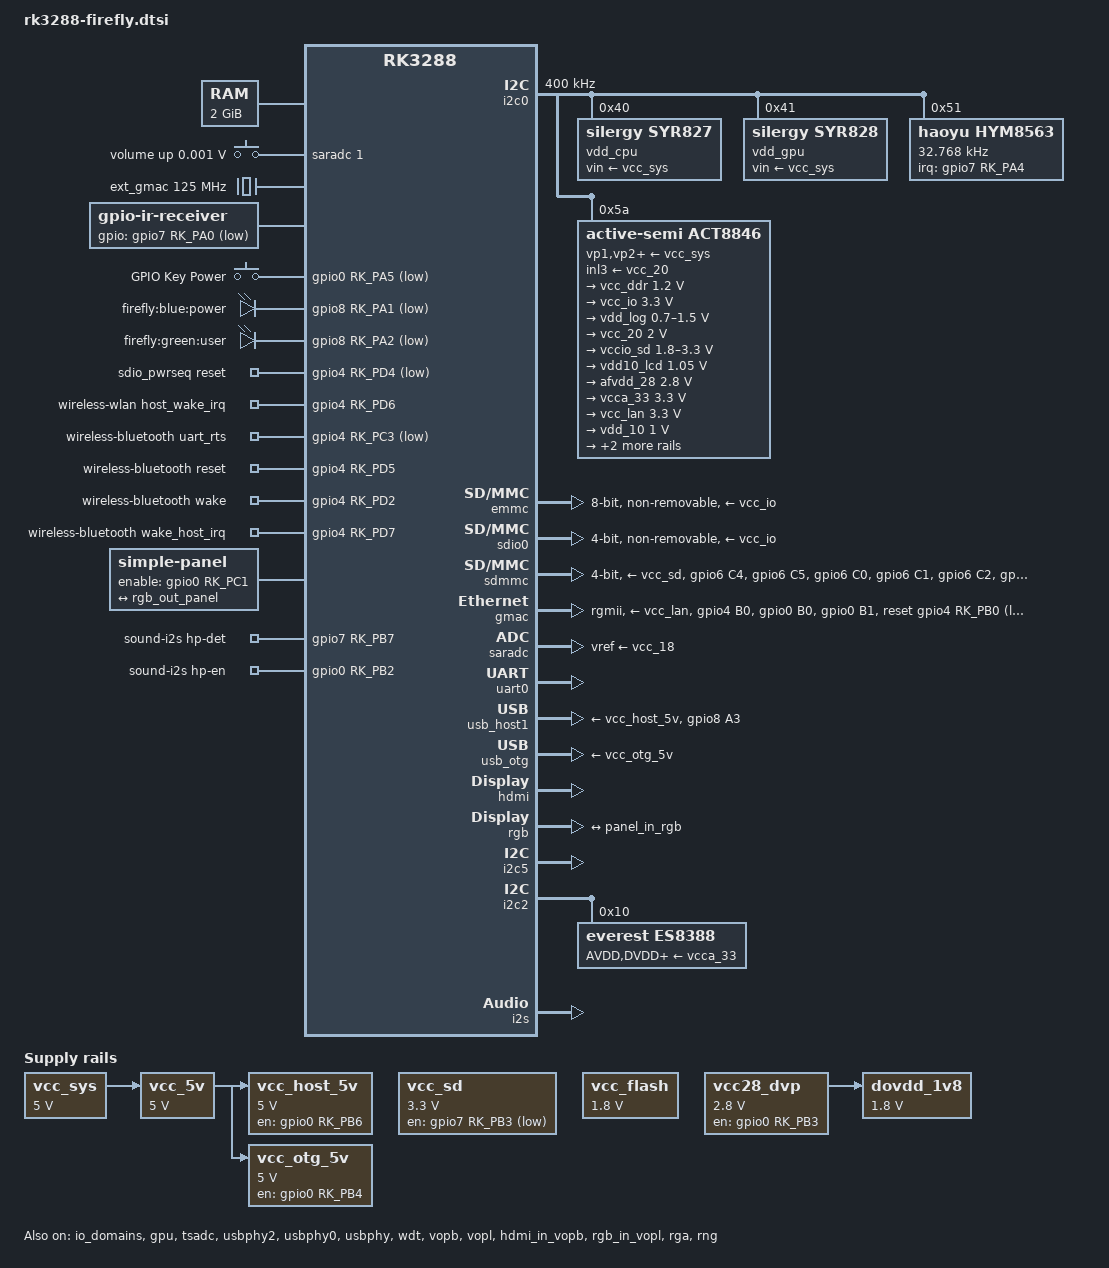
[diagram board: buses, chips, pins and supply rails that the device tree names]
// SPDX-License-Identifier: (GPL-2.0+ OR MIT)
/*
 * Copyright (c) 2014, 2015 FUKAUMI Naoki <naobsd@gmail.com>
 */

#include <dt-bindings/input/input.h>
#include <dt-bindings/display/media-bus-format.h>
#include "rk3288.dtsi"

/ {
	memory@0 {
		device_type = "memory";
		reg = <0x0 0x0 0x0 0x80000000>;
	};

	adc-keys {
		compatible = "adc-keys";
		io-channels = <&saradc 1>;
		io-channel-names = "buttons";
		poll-interval = <100>;
		keyup-threshold-microvolt = <1800000>;

		volup-key {
			label = "volume up";
			linux,code = <KEY_VOLUMEUP>;
			press-threshold-microvolt = <1000>;
		};
	};

	ext_gmac: external-gmac-clock {
		compatible = "fixed-clock";
		#clock-cells = <0>;
		clock-frequency = <125000000>;
		clock-output-names = "ext_gmac";
	};

	ir: ir-receiver {
		compatible = "gpio-ir-receiver";
		gpios = <&gpio7 RK_PA0 GPIO_ACTIVE_LOW>;
		pinctrl-names = "default";
		pinctrl-0 = <&ir_int>;
	};

	keys: gpio-keys {
		compatible = "gpio-keys";

		pinctrl-names = "default";
		pinctrl-0 = <&pwr_key>;

		power {
			gpios = <&gpio0 RK_PA5 GPIO_ACTIVE_LOW>;
			linux,code = <KEY_POWER>;
			label = "GPIO Key Power";
			wakeup-source;
			debounce-interval = <100>;
		};
	};

	leds {
		compatible = "gpio-leds";

		pinctrl-names = "default";
		pinctrl-0 = <&power_led>, <&user_led>;

		power {
			gpios = <&gpio8 RK_PA1 GPIO_ACTIVE_LOW>;
			label = "firefly:blue:power";
			linux,default-trigger = "default-on";
		};

		user {
			gpios = <&gpio8 RK_PA2 GPIO_ACTIVE_LOW>;
			label = "firefly:green:user";
			linux,default-trigger = "default-on";
		};
	};

	sdio_pwrseq: sdio-pwrseq {
		compatible = "mmc-pwrseq-simple";
		pinctrl-names = "default";
		pinctrl-0 = <&wifi_enable_h>;

		/*
		 * On the module itself this is one of these (depending
		 * on the actual card populated):
		 * - SDIO_RESET_L_WL_REG_ON
		 * - PDN (power down when low)
		 */
		reset-gpios = <&gpio4 RK_PD4 GPIO_ACTIVE_LOW>;
	};

	wireless-wlan {
		compatible = "wlan-platdata";
		rockchip,grf = <&grf>;
		clocks = <&hym8563>;
		clock-names = "clk_wifi";
		wifi_chip_type = "ap6255";
		WIFI,host_wake_irq = <&gpio4 RK_PD6 GPIO_ACTIVE_HIGH>;
		pinctrl-names = "default";
		pinctrl-0 = <&wifi_wake_host>;
		status = "okay";
	};

	wireless-bluetooth {
		compatible = "bluetooth-platdata";
		clocks = <&hym8563>;
		clock-names = "ext_clock";
		uart_rts_gpios = <&gpio4 RK_PC3 GPIO_ACTIVE_LOW>;
		pinctrl-names = "default", "rts_gpio";
		pinctrl-0 = <&uart0_rts>;
		pinctrl-1 = <&uart0_gpios>;
		BT,reset_gpio    = <&gpio4 RK_PD5 GPIO_ACTIVE_HIGH>;
		BT,wake_gpio     = <&gpio4 RK_PD2 GPIO_ACTIVE_HIGH>;
		BT,wake_host_irq = <&gpio4 RK_PD7 GPIO_ACTIVE_HIGH>;
		status = "okay";
	};

	panel {
		compatible = "simple-panel";
		enable-gpios = <&gpio0 RK_PC1 GPIO_ACTIVE_HIGH>;
		bus-format = <MEDIA_BUS_FMT_RGB888_1X24>;

		display-timings {
			native-mode = <&timing0>;

			timing0: timing0 {
				clock-frequency = <148500000>;
				hactive = <1920>;
				vactive = <1080>;
				hfront-porch = <88>;
				hsync-len = <44>;
				hback-porch = <148>;
				vfront-porch = <4>;
				vsync-len = <5>;
				vback-porch = <36>;
				hsync-active = <0>;
				vsync-active = <0>;
				de-active = <0>;
				pixelclk-active = <0>;
			};
		};

		port {
			panel_in_rgb: endpoint {
				remote-endpoint = <&rgb_out_panel>;
			};
		};
	};

	sound-i2s {
		compatible = "rockchip,rk3288-hdmi-analog";
		pinctrl-names = "default";
		pinctrl-0 = <&phone_ctl>, <&hp_det>;
		rockchip,hp-det-gpios = <&gpio7 RK_PB7 GPIO_ACTIVE_HIGH>;
		rockchip,hp-en-gpios = <&gpio0 RK_PB2 GPIO_ACTIVE_HIGH>;
		rockchip,model = "I2S";
		rockchip,audio-codec = <&es8388>, <&hdmi>;
		rockchip,i2s-controller = <&i2s>;
		rockchip,routing = "Analog", "LOUT2",
				   "Analog", "ROUT2";
	};

	vcc_sys: vsys-regulator {
		compatible = "regulator-fixed";
		regulator-name = "vcc_sys";
		regulator-min-microvolt = <5000000>;
		regulator-max-microvolt = <5000000>;
		regulator-always-on;
		regulator-boot-on;
	};

	vcc_sd: sdmmc-regulator {
		compatible = "regulator-fixed";
		gpio = <&gpio7 RK_PB3 GPIO_ACTIVE_LOW>;
		pinctrl-names = "default";
		pinctrl-0 = <&sdmmc_pwr>;
		regulator-name = "vcc_sd";
		regulator-min-microvolt = <3300000>;
		regulator-max-microvolt = <3300000>;
		regulator-always-on;
		regulator-boot-on;
		startup-delay-us = <100000>;
		//vin-supply = <&vcc_io>;
	};

	vcc_flash: flash-regulator {
		compatible = "regulator-fixed";
		regulator-name = "vcc_flash";
		regulator-min-microvolt = <1800000>;
		regulator-max-microvolt = <1800000>;
		regulator-always-on;
		regulator-boot-on;
		//vin-supply = <&vcc_io>;
	};

	vcc_5v: usb-regulator {
		compatible = "regulator-fixed";
		regulator-name = "vcc_5v";
		regulator-min-microvolt = <5000000>;
		regulator-max-microvolt = <5000000>;
		regulator-always-on;
		regulator-boot-on;
		vin-supply = <&vcc_sys>;
	};

	vcc_host_5v: usb-host-regulator {
		compatible = "regulator-fixed";
		enable-active-high;
		gpio = <&gpio0 RK_PB6 GPIO_ACTIVE_HIGH>;
		pinctrl-names = "default";
		pinctrl-0 = <&host_vbus_drv>;
		regulator-name = "vcc_host_5v";
		regulator-min-microvolt = <5000000>;
		regulator-max-microvolt = <5000000>;
		regulator-always-on;
		regulator-boot-on;
		vin-supply = <&vcc_5v>;
	};

	vcc_otg_5v: usb-otg-regulator {
		compatible = "regulator-fixed";
		enable-active-high;
		gpio = <&gpio0 RK_PB4 GPIO_ACTIVE_HIGH>;
		pinctrl-names = "default";
		pinctrl-0 = <&otg_vbus_drv>;
		regulator-name = "vcc_otg_5v";
		regulator-min-microvolt = <5000000>;
		regulator-max-microvolt = <5000000>;
		vin-supply = <&vcc_5v>;
	};

	/*
	 * A TT8142 creates both dovdd_1v8 and vcc28_dvp, controlled
	 * by the dvp_pwr pin.
	 */
	vcc28_dvp: vcc28-dvp-regulator {
		compatible = "regulator-fixed";
		enable-active-high;
		gpio = <&gpio0 RK_PB3 GPIO_ACTIVE_HIGH>;
		pinctrl-names = "default";
		pinctrl-0 = <&dvp_pwr>;
		regulator-name = "vcc28_dvp";
		regulator-min-microvolt = <2800000>;
		regulator-max-microvolt = <2800000>;
		//vin-supply = <&vcc_io>;
	};

	dovdd_1v8: dovdd-1v8-regulator {
		compatible = "regulator-fixed";
		regulator-name = "dovdd_1v8";
		regulator-min-microvolt = <1800000>;
		regulator-max-microvolt = <1800000>;
		vin-supply = <&vcc28_dvp>;
	};
};

&i2c0 {
	clock-frequency = <400000>;
	status = "okay";

	vdd_cpu: syr827@40 {
		compatible = "silergy,syr827";
		fcs,suspend-voltage-selector = <1>;
		reg = <0x40>;
		regulator-name = "vdd_cpu";
		regulator-min-microvolt = <850000>;
		regulator-max-microvolt = <1350000>;
		regulator-always-on;
		regulator-boot-on;
		regulator-enable-ramp-delay = <300>;
		regulator-ramp-delay = <8000>;
		vin-supply = <&vcc_sys>;
		regulator-initial-mode = <0x2>;
		regulator-state-mem {
			regulator-off-in-suspend;
		};
	};

	vdd_gpu: syr828@41 {
		compatible = "silergy,syr828";
		fcs,suspend-voltage-selector = <1>;
		reg = <0x41>;
		regulator-name = "vdd_gpu";
		regulator-min-microvolt = <850000>;
		regulator-max-microvolt = <1350000>;
		regulator-always-on;
		regulator-ramp-delay = <6000>;
		vin-supply = <&vcc_sys>;
		regulator-initial-mode = <0x2>;
		regulator-state-mem {
			regulator-off-in-suspend;
		};
	};

	hym8563: hym8563@51 {
		compatible = "haoyu,hym8563";
		reg = <0x51>;
		#clock-cells = <0>;
		clock-frequency = <32768>;
		clock-output-names = "xin32k";
		interrupt-parent = <&gpio7>;
		interrupts = <RK_PA4 IRQ_TYPE_EDGE_FALLING>;
		pinctrl-names = "default";
		pinctrl-0 = <&rtc_int>;
	};

	act8846: act8846@5a {
		compatible = "active-semi,act8846";
		reg = <0x5a>;
		pinctrl-names = "default";
		pinctrl-0 = <&pmic_vsel>, <&pwr_hold>;
		system-power-controller;

		vp1-supply = <&vcc_sys>;
		vp2-supply = <&vcc_sys>;
		vp3-supply = <&vcc_sys>;
		vp4-supply = <&vcc_sys>;
		inl1-supply = <&vcc_sys>;
		inl2-supply = <&vcc_sys>;
		inl3-supply = <&vcc_20>;

		regulators {
			vcc_ddr: REG1 {
				regulator-name = "vcc_ddr";
				regulator-min-microvolt = <1200000>;
				regulator-max-microvolt = <1200000>;
				regulator-always-on;
				regulator-state-mem {
					regulator-on-in-suspend;
				};
			};

			vcc_io: REG2 {
				regulator-name = "vcc_io";
				regulator-min-microvolt = <3300000>;
				regulator-max-microvolt = <3300000>;
				regulator-always-on;
				regulator-state-mem {
					regulator-on-in-suspend;
				};
			};

			vdd_log: REG3 {
				regulator-name = "vdd_log";
				regulator-min-microvolt = <700000>;
				regulator-max-microvolt = <1500000>;
				regulator-always-on;
				regulator-state-mem {
					regulator-on-in-suspend;
					regulator-suspend-microvolt = <1100000>;
				};
			};

			vcc_20: REG4 {
				regulator-name = "vcc_20";
				regulator-min-microvolt = <2000000>;
				regulator-max-microvolt = <2000000>;
				regulator-always-on;
				regulator-state-mem {
					regulator-on-in-suspend;
				};
			};

			vccio_sd: REG5 {
				regulator-name = "vccio_sd";
				regulator-min-microvolt = <1800000>;
				regulator-max-microvolt = <3300000>;
				regulator-always-on;
				regulator-state-mem {
					regulator-off-in-suspend;
				};
			};

			vdd10_lcd: REG6 {
				regulator-name = "vdd10_lcd";
				regulator-min-microvolt = <1050000>;
				regulator-max-microvolt = <1050000>;
				regulator-always-on;
				regulator-boot-on;
				regulator-state-mem {
					regulator-off-in-suspend;
				};
			};

			afvdd_28: REG7 {
				regulator-name = "afvdd_28";
				regulator-min-microvolt = <2800000>;
				regulator-max-microvolt = <2800000>;
				regulator-boot-on;
			};

			vcca_33: REG8 {
				regulator-name = "vcca_33";
				regulator-min-microvolt = <3300000>;
				regulator-max-microvolt = <3300000>;
				regulator-always-on;
				regulator-state-mem {
					regulator-on-in-suspend;
				};
			};

			vcc_lan: REG9 {
				regulator-name = "vcc_lan";
				regulator-min-microvolt = <3300000>;
				regulator-max-microvolt = <3300000>;
				regulator-always-on;
				regulator-state-mem {
					regulator-on-in-suspend;
				};
			};

			vdd_10: REG10 {
				regulator-name = "vdd_10";
				regulator-min-microvolt = <1000000>;
				regulator-max-microvolt = <1000000>;
				regulator-always-on;
				regulator-state-mem {
					regulator-on-in-suspend;
				};
			};

			vcc_18: REG11 {
				regulator-name = "vcc_18";
				regulator-min-microvolt = <1800000>;
				regulator-max-microvolt = <1800000>;
				regulator-always-on;
				regulator-state-mem {
					regulator-on-in-suspend;
				};
			};

			vcc18_lcd: REG12 {
				regulator-name = "vcc18_lcd";
				regulator-min-microvolt = <1850000>;
				regulator-max-microvolt = <1850000>;
				regulator-always-on;
				regulator-boot-on;
				regulator-state-mem {
					regulator-off-in-suspend;
				};
			};
		};
	};
};

&io_domains {
	status = "okay";

	audio-supply = <&vcca_33>;
	bb-supply = <&vcc_io>;
	dvp-supply = <&dovdd_1v8>;
	flash0-supply = <&vcc_flash>;
	flash1-supply = <&vcc_lan>;
	gpio30-supply = <&vcc_io>;
	gpio1830-supply = <&vcc_io>;
	lcdc-supply = <&vcc_io>;
	sdcard-supply = <&vccio_sd>;
	wifi-supply = <&vcc_18>;
};

&cpu0 {
	cpu0-supply = <&vdd_cpu>;
};

&gpu {
	mali-supply = <&vdd_gpu>;
	status = "okay";
};

&emmc {
	max-frequency = <100000000>;
	supports-emmc;
	bus-width = <8>;
	cap-mmc-highspeed;
	mmc-ddr-1_8v;
	mmc-hs200-1_8v;
	non-removable;
	pinctrl-names = "default";
	pinctrl-0 = <&emmc_clk>, <&emmc_cmd>, <&emmc_pwr>, <&emmc_bus8>;
	vmmc-supply = <&vcc_io>;
	vqmmc-supply = <&vcc_flash>;
	status = "okay";
};

&sdio0 {
	max-frequency = <100000000>;
	supports-sdio;
	bus-width = <4>;
	cap-sd-highspeed;
	sd-uhs-sdr104;
	cap-sdio-irq;
	keep-power-in-suspend;
	mmc-pwrseq = <&sdio_pwrseq>;
	non-removable;
	pinctrl-names = "default";
	pinctrl-0 = <&sdio0_bus4>, <&sdio0_cmd>, <&sdio0_clk>;
	vmmc-supply = <&vcc_io>;
	vqmmc-supply = <&vcc_18>;
	status = "okay";
};

&sdmmc {
	max-frequency = <100000000>;
	supports-sd;
	bus-width = <4>;
	cap-mmc-highspeed;
	cap-sd-highspeed;
	sd-uhs-sdr12;
	sd-uhs-sdr25;
	sd-uhs-sdr50;
	sd-uhs-sdr104;
	card-detect-delay = <200>;
	disable-wp;
	pinctrl-names = "default";
	pinctrl-0 = <&sdmmc_clk>, <&sdmmc_cmd>, <&sdmmc_cd>, <&sdmmc_bus4>;
	vmmc-supply = <&vcc_sd>;
	vqmmc-supply = <&vccio_sd>;
	status = "okay";
};

&gmac {
	assigned-clocks = <&cru SCLK_MAC>;
	assigned-clock-parents = <&ext_gmac>;
	clock_in_out = "input";
	pinctrl-names = "default";
	pinctrl-0 = <&rgmii_pins>, <&phy_rst>, <&phy_pmeb>, <&phy_int>;
	phy-supply = <&vcc_lan>;
	phy-mode = "rgmii";
	snps,reset-active-low;
	snps,reset-delays-us = <0 10000 1000000>;
	snps,reset-gpio = <&gpio4 RK_PB0 GPIO_ACTIVE_LOW>;
	tx_delay = <0x1d>;
	rx_delay = <0x16>;
	status = "okay";
};

&pinctrl {
	pcfg_output_high: pcfg-output-high {
		output-high;
	};

	pcfg_output_low: pcfg-output-low {
		output-low;
	};

	pcfg_pull_up_drv_12ma: pcfg-pull-up-drv-12ma {
		bias-pull-up;
		drive-strength = <12>;
	};

	ir {
		ir_int: ir-int {
			rockchip,pins = <7 RK_PA0 RK_FUNC_GPIO &pcfg_pull_up>;
		};
	};

	keys {
		pwr_key: pwr-key {
			rockchip,pins = <0 RK_PA5 RK_FUNC_GPIO &pcfg_pull_up>;
		};
	};

	leds {
		power_led: power-led {
			rockchip,pins = <8 RK_PA1 RK_FUNC_GPIO &pcfg_pull_none>;
		};

		user_led: user-led {
			rockchip,pins = <8 RK_PA2 RK_FUNC_GPIO &pcfg_pull_none>;
		};
	};

	sdio-pwrseq {
		wifi_enable_h: wifi-enable-h {
			rockchip,pins = <4 RK_PD4 RK_FUNC_GPIO &pcfg_pull_none>;
		};
	};

	wireless-wlan {
		wifi_wake_host: wifi-wake-host {
			rockchip,pins = <4 RK_PD6 RK_FUNC_GPIO &pcfg_pull_down>;
		};
	};

	wireless-bluetooth {
		uart0_gpios: uart0-gpios {
			rockchip,pins = <4 RK_PC3 RK_FUNC_GPIO &pcfg_pull_none>;
		};
	};

	headphone {
		hp_det: hp-det {
			rockchip,pins = <7 RK_PB7 RK_FUNC_GPIO &pcfg_pull_none>;
		};

		phone_ctl: phone-ctl {
			rockchip,pins = <0 RK_PB2 RK_FUNC_GPIO &pcfg_pull_up>;
		};
	};

	sdmmc {
		/*
		 * Default drive strength isn't enough to achieve even
		 * high-speed mode on firefly board so bump up to 12ma.
		 */
		sdmmc_bus4: sdmmc-bus4 {
			rockchip,pins = <6 RK_PC0 1 &pcfg_pull_up_drv_12ma>,
					<6 RK_PC1 1 &pcfg_pull_up_drv_12ma>,
					<6 RK_PC2 1 &pcfg_pull_up_drv_12ma>,
					<6 RK_PC3 1 &pcfg_pull_up_drv_12ma>;
		};

		sdmmc_clk: sdmmc-clk {
			rockchip,pins = <6 RK_PC4 1 &pcfg_pull_none_12ma>;
		};

		sdmmc_cmd: sdmmc-cmd {
			rockchip,pins = <6 RK_PC5 1 &pcfg_pull_up_drv_12ma>;
		};

		sdmmc_pwr: sdmmc-pwr {
			rockchip,pins = <7 RK_PB3 RK_FUNC_GPIO &pcfg_pull_none>;
		};
	};

	usb_host {
		host_vbus_drv: host-vbus-drv {
			rockchip,pins = <0 RK_PB6 RK_FUNC_GPIO &pcfg_pull_none>;
		};

		usbhub_rst: usbhub-rst {
			rockchip,pins = <8 RK_PA3 RK_FUNC_GPIO &pcfg_output_high>;
		};
	};

	usb_otg {
		otg_vbus_drv: otg-vbus-drv {
			rockchip,pins = <0 RK_PB4 RK_FUNC_GPIO &pcfg_pull_none>;
		};
	};

	dvp {
		dvp_pwr: dvp-pwr {
			rockchip,pins = <0 RK_PB3 RK_FUNC_GPIO &pcfg_pull_none>;
		};
	};

	hym8563 {
		rtc_int: rtc-int {
			rockchip,pins = <7 RK_PA4 RK_FUNC_GPIO &pcfg_pull_up>;
		};
	};

	act8846 {
		pmic_vsel: pmic-vsel {
			rockchip,pins = <7 RK_PB6 RK_FUNC_GPIO &pcfg_output_low>;
		};

		pwr_hold: pwr-hold {
			rockchip,pins = <0 RK_PA1 RK_FUNC_GPIO &pcfg_output_high>;
		};
	};

	gmac {
		phy_int: phy-int {
			rockchip,pins = <0 RK_PB1 RK_FUNC_GPIO &pcfg_pull_up>;
		};

		phy_pmeb: phy-pmeb {
			rockchip,pins = <0 RK_PB0 RK_FUNC_GPIO &pcfg_pull_up>;
		};

		phy_rst: phy-rst {
			rockchip,pins = <4 RK_PB0 RK_FUNC_GPIO &pcfg_output_high>;
		};
	};
};

&saradc {
	vref-supply = <&vcc_18>;
	status = "okay";
};

&tsadc {
	rockchip,hw-tshut-polarity = <0>;
	status = "okay";
};

&uart0 {
	pinctrl-names = "default";
	pinctrl-0 = <&uart0_xfer>, <&uart0_cts>;
	status = "okay";
};

&usbphy2 {
	status = "okay";
};

&usbphy0 {
	status = "okay";
};

&usbphy {
	status = "okay";
};

&usb_host1 {
	vbus-supply = <&vcc_host_5v>;
	pinctrl-names = "default";
	pinctrl-0 = <&usbhub_rst>;
	status = "okay";
};

&usb_otg {
	vbus-supply = <&vcc_otg_5v>;
	status = "okay";
};

&wdt {
	status = "okay";
};

&rockchip_suspend {
	/delete-property/ rockchip,pwm-regulator-config;
	status = "okay";
};

&vopb {
	status = "okay";
};

&vopb_mmu {
	status = "okay";
};

&vopl {
	status = "okay";
};

&vopl_mmu {
	status = "okay";
};

&hdmi {
	/delete-property/ pinctrl-names;
	/delete-property/ pinctrl-0;
	/delete-property/ pinctrl-1;
	ddc-i2c-bus = <&i2c5>;
	status = "okay";
};

&hdmi_in_vopb {
	status = "okay";
};

&hdmi_in_vopl {
	status = "disabled";
};

&rgb {
	status = "okay";

	ports {
		port@1 {
			reg = <1>;

			rgb_out_panel: endpoint {
				remote-endpoint = <&panel_in_rgb>;
			};
		};
	};
};

&rgb_in_vopb {
	status = "disabled";
};

&rgb_in_vopl {
	status = "okay";
};

&i2c5 {
	status = "okay";
};

&i2c2 {
	status = "okay";

	es8388: es8388@10 {
		compatible = "everest,es8388", "everest,es8328";
		reg = <0x10>;
		AVDD-supply = <&vcca_33>;
		DVDD-supply = <&vcca_33>;
		HPVDD-supply = <&vcca_33>;
		PVDD-supply = <&vcca_33>;
		clocks = <&cru SCLK_I2S0_OUT>;
		pinctrl-names = "default";
		pinctrl-0 = <&i2s0_mclk>;
	};
};

&i2s {
	status = "okay";
};

&rga {
	compatible = "rockchip,rga2";
	clocks = <&cru ACLK_RGA>, <&cru HCLK_RGA>, <&cru SCLK_RGA>;
	clock-names = "aclk_rga", "hclk_rga", "clk_rga";
	assigned-clocks = <&cru ACLK_RGA>, <&cru SCLK_RGA>;
	assigned-clock-rates = <300000000>, <300000000>;
	status = "okay";
};

&rng {
	status = "okay";
};
